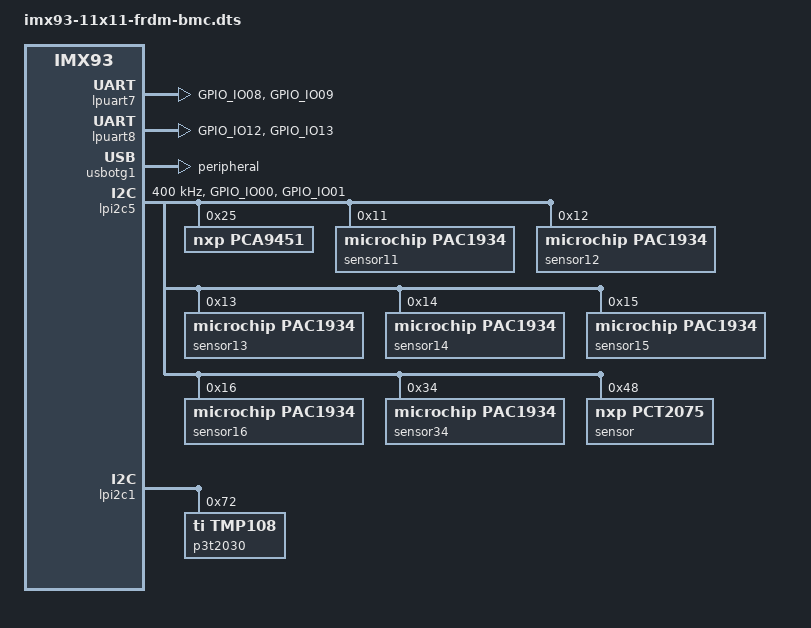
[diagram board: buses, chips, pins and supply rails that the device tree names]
// SPDX-License-Identifier: (GPL-2.0+ OR MIT)
/*
 * Copyright 2025-2026 NXP
 */

#include "imx93-11x11-frdm.dts"

&lpspi3 {
	status = "disabled";
};

&tpm3 {
	status = "disabled";
};

&tpm4 {
	status = "disabled";
};


&lpuart7 { /* console */
	pinctrl-names = "default";
	pinctrl-0 = <&pinctrl_uart7>;
	status = "okay";
};

&lpuart8 { /* console */
	pinctrl-names = "default";
	pinctrl-0 = <&pinctrl_uart8>;
	status = "okay";
};


/* Force USB device (peripheral) mode for OpenBMC */
&usbotg1 {
        dr_mode = "peripheral";
        status = "okay";
};

&iomuxc {

pinctrl_lpi2c5: lpi2c5grp {
			fsl,pins = <
				MX93_PAD_GPIO_IO00__LPI2C5_SDA			0x40000b9e
				MX93_PAD_GPIO_IO01__LPI2C5_SCL			0x40000b9e
				>;
		};

pinctrl_uart7: uart7grp {
		       fsl,pins = <
			       MX93_PAD_GPIO_IO08__LPUART7_TX			0x31e
			       MX93_PAD_GPIO_IO09__LPUART7_RX			0x31e
			       >;
	       };

pinctrl_uart8: uart8grp {
		       fsl,pins = <
			       MX93_PAD_GPIO_IO12__LPUART8_TX			0x31e
			       MX93_PAD_GPIO_IO13__LPUART8_RX			0x31e
			       >;
	       };

};

&lpi2c5 {
#address-cells = <1>;
#size-cells = <0>;
	clock-frequency = <400000>;
	pinctrl-names = "default", "sleep";
	pinctrl-0 = <&pinctrl_lpi2c5>;
	pinctrl-1 = <&pinctrl_lpi2c5>;
	status = "okay";

	pca9451@25 {
		compatible = "nxp,pca9451";
		reg = <0x25>;
		status = "okay";
	};

	sensor11@11 {
		compatible = "microchip,pac1934";
	        reg = <0x11>;
	        status = "okay";
	};

	sensor12@12 {
		compatible = "microchip,pac1934";
	        reg = <0x12>;
	        status = "okay";
	};

	sensor13@13 {
		compatible = "microchip,pac1934";
	        reg = <0x13>;
	        status = "okay";
	};

	sensor14@14 {
		compatible = "microchip,pac1934";
	        reg = <0x14>;
	        status = "okay";
	};

	sensor15@15 {
		compatible = "microchip,pac1934";
	        reg = <0x15>;
	        status = "okay";
	};

	sensor16@16 {
		compatible = "microchip,pac1934";
	        reg = <0x16>;
	        status = "okay";
	};

	sensor34@34 {
		compatible = "microchip,pac1934";
	        reg = <0x34>;
	        status = "okay";
	};

	sensor@48 {
		compatible = "nxp,pct2075";
		reg = <0x48>;
	        #thermal-sensor-cells = <0>;   /* Required for thermal framework */
	};

};

&lpi2c1 {
	p3t2030@72 {
		compatible = "ti,tmp108";
		reg = <0x72>;
	};
};
